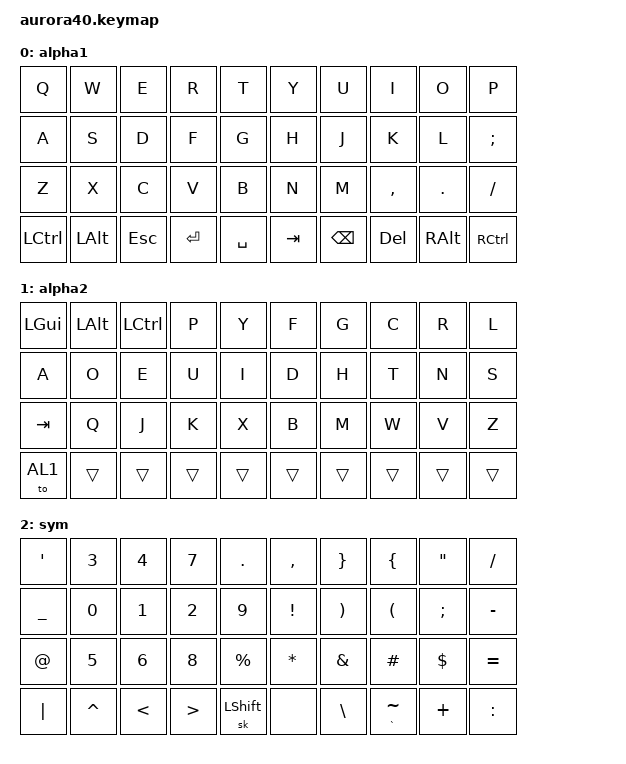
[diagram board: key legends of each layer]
#include <behaviors.dtsi>
#include <dt-bindings/zmk/keys.h>

/* Layers */

#define AL1 0
#define AL2 1
#define SYM 2

/ {
    //      ----------------------    ----------------------
    //      | 00  01  02  03  04 |    | 05  06  07  08  09 |
    //      | 10  11  12  13  14 |    | 15  16  17  18  19 |
    //      | 20  21  22  23  24 |    | 25  26  27  28  29 |
    //      | 30  31  32  33  34 |    | 35  36  37  38  39 |
    //      ----------------------    ----------------------

    keymap {
        compatible = "zmk,keymap";

        // Heyyou!

        alpha1 {
            bindings = <
  &kp Q      &kp W     &kp E    &kp R    &kp T        &kp Y    &kp U     &kp I      &kp O       &kp P
  &kp A      &kp S     &kp D    &kp F    &kp G        &kp H    &kp J     &kp K      &kp L       &kp SEMICOLON
  &kp Z      &kp X     &kp C    &kp V    &kp B        &kp N    &kp M     &kp COMMA  &kp PERIOD  &kp SLASH
  &kp LCTRL  &kp LALT  &kp ESC  &kp RET  &kp SPACE    &kp TAB  &kp BSPC  &kp DEL    &kp RALT    &kp RCTRL
            >;
        };

        // Dvorak :(

        alpha2 {
            bindings = <
  &kp LGUI  &kp LALT  &kp LCTRL  &kp P   &kp Y     &kp F   &kp G   &kp C   &kp R   &kp L
  &kp A     &kp O     &kp E      &kp U   &kp I     &kp D   &kp H   &kp T   &kp N   &kp S
  &kp TAB   &kp Q     &kp J      &kp K   &kp X     &kp B   &kp M   &kp W   &kp V   &kp Z
  &to AL1   &trans    &trans     &trans  &trans    &trans  &trans  &trans  &trans  &trans
            >;
        };

        sym {
            bindings = <
  &kp APOS   &kp N3     &kp N4  &kp N7  &kp DOT      &kp COMMA  &kp RBRC  &kp LBRC         &kp DQT   &kp FSLH
  &kp UNDER  &kp N0     &kp N1  &kp N2  &kp N9       &kp EXCL   &kp RPAR  &kp LPAR         &kp SEMI  &kp MINUS
  &kp AT     &kp N5     &kp N6  &kp N8  &kp PRCNT    &kp STAR   &kp AMPS  &kp HASH         &kp DLLR  &kp EQUAL
  &kp PIPE   &kp CARET  &kp LT  &kp GT  &sk LSHFT    &none      &kp BSLH  &mt GRAVE TILDE  &kp PLUS  &kp COLON
            >;
        };
    };
};
